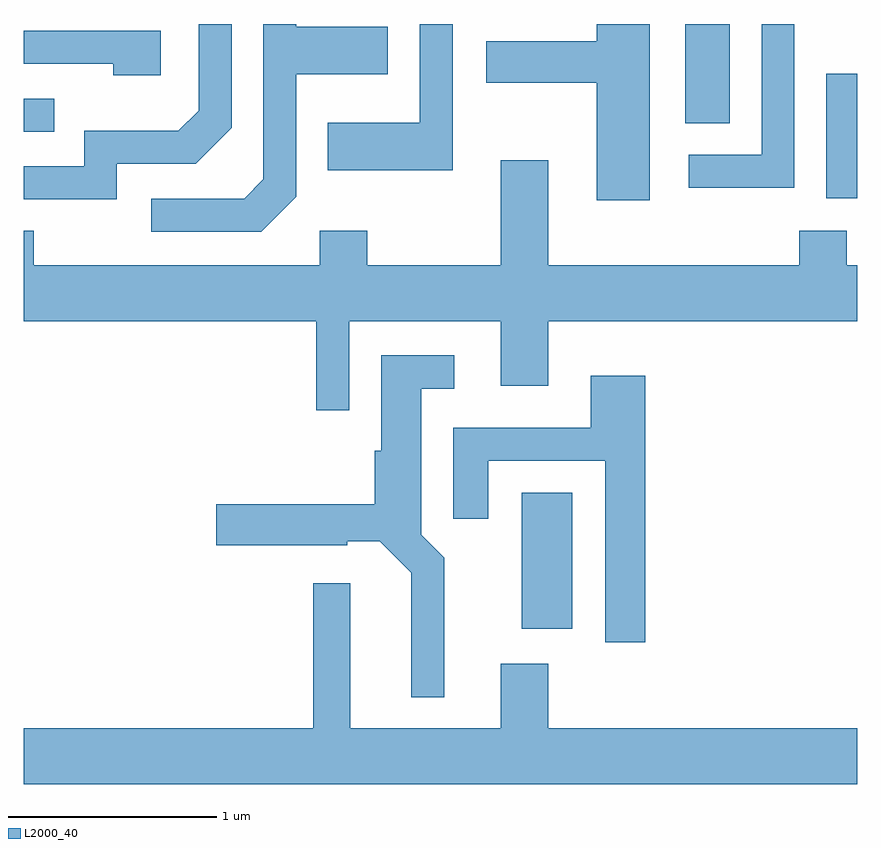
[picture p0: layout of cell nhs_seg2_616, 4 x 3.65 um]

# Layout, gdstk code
import gdstk
lib = gdstk.Library(unit=1e-6, precision=1e-09)
def R(c, l, rs):  # rectangles x0, y0, x1, y1
    for r in rs: c.add(gdstk.rectangle(r[:2], r[2:], *l))
def P(c, l, *ps):  # polygons
    for p in ps: c.add(gdstk.Polygon(p, *l))
L2000_40 = (2000, 40)

nhs_seg2_616 = lib.new_cell('nhs_seg2_616')
R(nhs_seg2_616, L2000_40, [(206.001,986.901,206.244,987.554), (207.461,988.966,207.611,989.564), (203.611,989.286,203.758,989.444), (206.786,989.326,206.999,989.802)])
P(nhs_seg2_616, L2000_40, [(206.614,989.802),(206.361,989.802),(206.361,989.719),(205.831,989.719),(205.831,989.521),(206.361,989.521),(206.361,988.956),(206.614,988.956)],
  [(204.059,989.131),(204.437,989.131),(204.609,989.304),(204.609,989.802),(204.451,989.802),(204.451,989.387),(204.354,989.289),(203.901,989.289),(203.901,989.119),(203.611,989.119),(203.611,988.961),(204.059,988.961)],
  [(204.919,988.974),(204.919,989.561),(205.359,989.561),(205.359,989.789),(204.919,989.789),(204.919,989.802),(204.761,989.802),(204.761,989.057),(204.669,988.964),(204.223,988.964),(204.223,988.806),(204.752,988.806)],
  [(205.669,989.802),(205.511,989.802),(205.511,989.329),(205.071,989.329),(205.071,989.101),(205.669,989.101)],
  [(207.309,989.802),(207.151,989.802),(207.151,989.174),(206.803,989.174),(206.803,989.016),(207.309,989.016)],
  [(204.269,989.769),(203.611,989.769),(203.611,989.611),(204.041,989.611),(204.041,989.556),(204.269,989.556)],
  [(205.174,988.376),(205.901,988.376),(205.901,988.066),(206.129,988.066),(206.129,988.376),(207.611,988.376),(207.611,988.644),(207.559,988.644),(207.559,988.809),(207.331,988.809),(207.331,988.644),(206.129,988.644),(206.129,989.149),(205.901,989.149),(205.901,988.644),(205.259,988.644),(205.259,988.809),(205.031,988.809),(205.031,988.644),(203.659,988.644),(203.659,988.809),(203.611,988.809),(203.611,988.376),(205.016,988.376),(205.016,987.948),(205.174,987.948)],
  [(205.629,987.242),(205.519,987.352),(205.519,988.051),(205.678,988.051),(205.678,988.214),(205.326,988.214),(205.326,987.754),(205.296,987.754),(205.296,987.499),(204.536,987.499),(204.536,987.301),(205.164,987.301),(205.164,987.321),(205.319,987.321),(205.471,987.169),(205.471,986.573),(205.629,986.573)],
  [(206.594,988.114),(206.331,988.114),(206.331,987.864),(205.671,987.864),(205.671,987.428),(205.839,987.428),(205.839,987.706),(206.401,987.706),(206.401,986.836),(206.594,986.836)],
  [(207.611,986.424),(206.129,986.424),(206.129,986.734),(205.901,986.734),(205.901,986.424),(205.179,986.424),(205.179,987.119),(205.001,987.119),(205.001,986.424),(203.611,986.424),(203.611,986.156),(207.611,986.156)])

lib.write_gds('nhs_seg2_616.gds')
